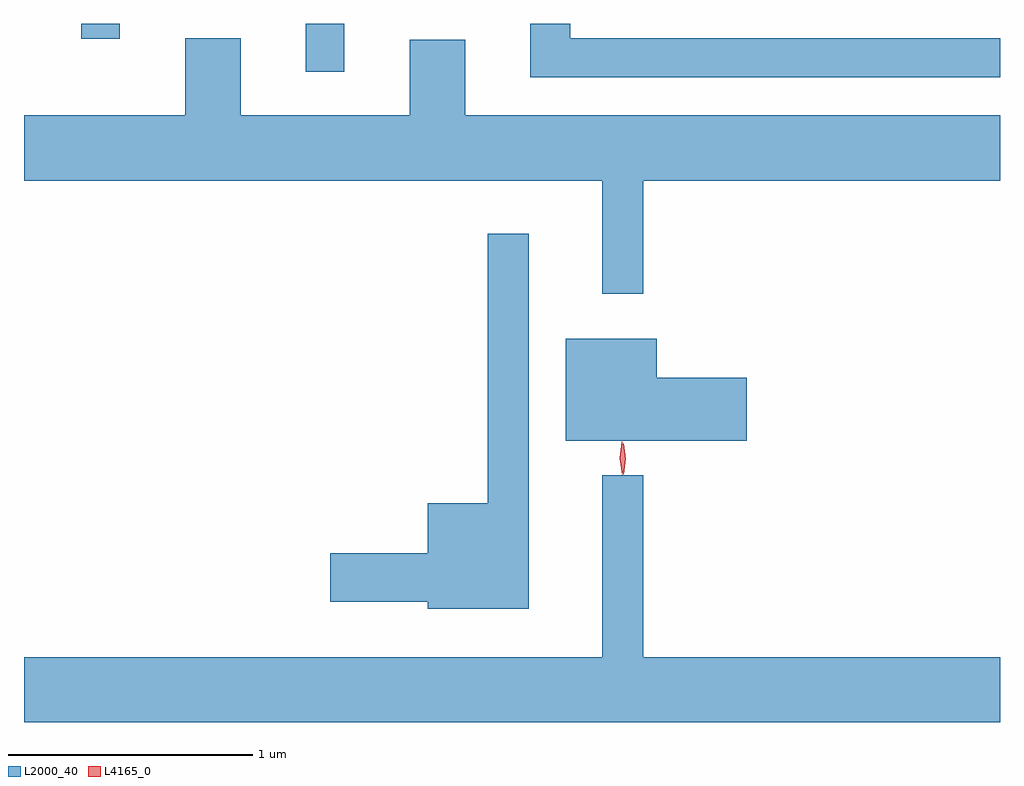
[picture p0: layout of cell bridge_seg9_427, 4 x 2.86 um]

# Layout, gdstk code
import gdstk
lib = gdstk.Library(unit=1e-6, precision=1e-09)
def R(c, l, rs):  # rectangles x0, y0, x1, y1
    for r in rs: c.add(gdstk.rectangle(r[:2], r[2:], *l))
def P(c, l, *ps):  # polygons
    for p in ps: c.add(gdstk.Polygon(p, *l))
L2000_40 = (2000, 40)
L4165_0 = (4165, 0)

bridge_seg9_427 = lib.new_cell('bridge_seg9_427')
R(bridge_seg9_427, L2000_40, [(384.996,2081.063,385.154,2081.26), (384.076,2081.198,384.234,2081.26)])
P(bridge_seg9_427, L2000_40, [(387.841,2081.199),(386.079,2081.199),(386.079,2081.26),(385.916,2081.26),(385.916,2081.041),(387.841,2081.041)],
  [(385.649,2081.194),(385.421,2081.194),(385.421,2080.884),(384.729,2080.884),(384.729,2081.199),(384.501,2081.199),(384.501,2080.884),(383.841,2080.884),(383.841,2080.616),(386.211,2080.616),(386.211,2080.153),(386.379,2080.153),(386.379,2080.616),(387.841,2080.616),(387.841,2080.884),(385.649,2080.884)],
  [(385.909,2080.398),(385.741,2080.398),(385.741,2079.294),(385.496,2079.294),(385.496,2079.089),(385.096,2079.089),(385.096,2078.891),(385.496,2078.891),(385.496,2078.861),(385.909,2078.861)],
  [(386.804,2079.809),(386.434,2079.809),(386.434,2079.969),(386.061,2079.969),(386.061,2079.551),(386.804,2079.551)],
  [(387.841,2078.664),(386.379,2078.664),(386.379,2079.408),(386.211,2079.408),(386.211,2078.664),(383.841,2078.664),(383.841,2078.396),(387.841,2078.396)])
P(bridge_seg9_427, L4165_0, [(386.292,2079.41),(386.282,2079.478),(386.291,2079.546),(386.292,2079.546),(386.292,2079.546),(386.302,2079.478),(386.293,2079.41),(386.293,2079.41)],
  [(386.297,2079.413),(386.288,2079.476),(386.297,2079.539),(386.298,2079.54),(386.298,2079.539),(386.308,2079.476),(386.298,2079.413),(386.298,2079.413)])

lib.write_gds('bridge_seg9_427.gds')
